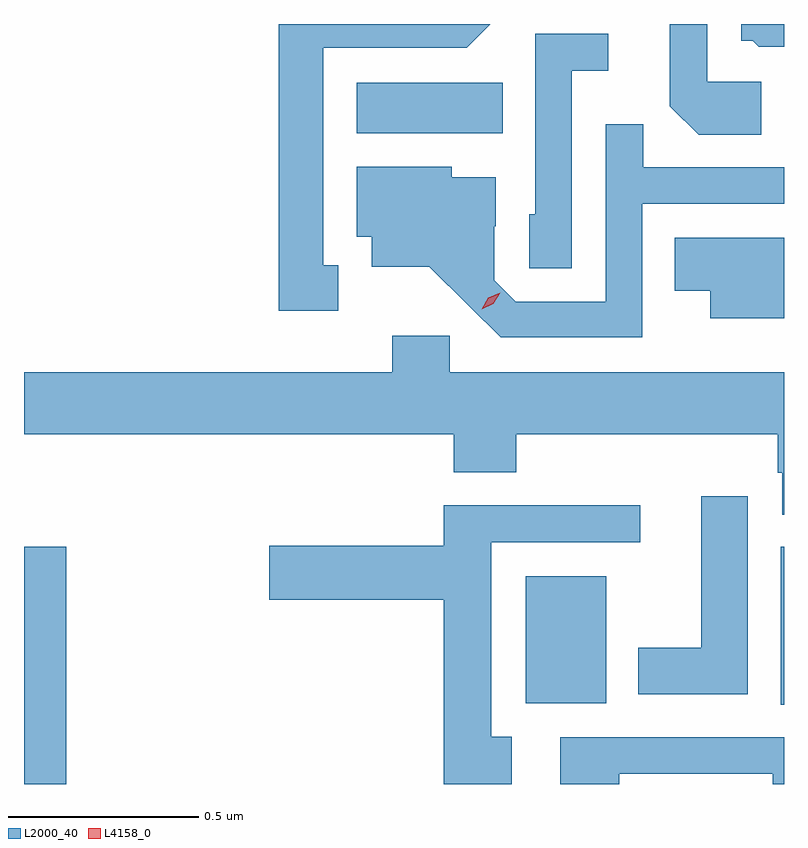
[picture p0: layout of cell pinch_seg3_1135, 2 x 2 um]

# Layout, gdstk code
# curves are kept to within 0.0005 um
import gdstk
lib = gdstk.Library(unit=1e-6, precision=1e-09)
def R(c, l, rs):  # rectangles x0, y0, x1, y1
    for r in rs: c.add(gdstk.rectangle(r[:2], r[2:], *l))
def P(c, l, *ps):  # polygons
    for p in ps: c.add(gdstk.Polygon(p, *l))
L2000_40 = (2000, 40)
L4158_0 = (4158, 0)

pinch_seg3_1135 = lib.new_cell('pinch_seg3_1135')
R(pinch_seg3_1135, L2000_40, [(317.648,697.332,317.759,697.957), (319.64,697.54,319.648,697.956), (318.968,697.544,319.18,697.879), (318.524,699.044,318.908,699.178)])
P(pinch_seg3_1135, L2000_40, [(319.648,699.332),(319.535,699.332),(319.535,699.288),(319.566,699.288),(319.582,699.272),(319.648,699.272)],
  [(319.588,699.18),(319.446,699.18),(319.446,699.332),(319.347,699.332),(319.347,699.116),(319.423,699.04),(319.588,699.04)],
  [(318.475,698.697),(318.436,698.697),(318.436,699.27),(318.813,699.27),(318.875,699.332),(318.318,699.332),(318.318,698.577),(318.475,698.577)],
  [(319.089,699.209),(319.186,699.209),(319.186,699.306),(318.993,699.306),(318.993,698.832),(318.978,698.832),(318.978,698.689),(319.089,698.689)],
  [(319.275,698.859),(319.648,698.859),(319.648,698.955),(319.277,698.955),(319.277,699.068),(319.179,699.068),(319.179,698.601),(318.942,698.601),(318.885,698.658),(318.885,698.8),(318.889,698.8),(318.889,698.929),(318.774,698.929),(318.774,698.956),(318.524,698.956),(318.524,698.772),(318.563,698.772),(318.563,698.693),(318.715,698.693),(318.902,698.508),(319.275,698.508)],
  [(319.648,698.77),(319.36,698.77),(319.36,698.63),(319.454,698.63),(319.454,698.558),(319.648,698.558)],
  [(319.648,698.416),(318.768,698.416),(318.768,698.512),(318.617,698.512),(318.617,698.416),(317.648,698.416),(317.648,698.252),(318.779,698.252),(318.779,698.153),(318.944,698.153),(318.944,698.252),(319.631,698.252),(319.631,698.151),(319.643,698.151),(319.643,698.041),(319.648,698.041)],
  [(319.552,698.089),(319.43,698.089),(319.43,697.69),(319.265,697.69),(319.265,697.568),(319.552,697.568)],
  [(318.931,697.456),(318.877,697.456),(318.877,697.968),(319.27,697.968),(319.27,698.066),(318.752,698.066),(318.752,697.959),(318.294,697.959),(318.294,697.817),(318.752,697.817),(318.752,697.332),(318.931,697.332)],
  [(319.215,697.359),(319.619,697.359),(319.619,697.332),(319.648,697.332),(319.648,697.455),(319.059,697.455),(319.059,697.332),(319.215,697.332)])
P(pinch_seg3_1135, L4158_0, [(318.852,698.581),(318.852,698.582),(318.87,698.611),(318.901,698.625),(318.901,698.625),(318.901,698.625),(318.883,698.596),(318.852,698.581)])

lib.write_gds('pinch_seg3_1135.gds')
